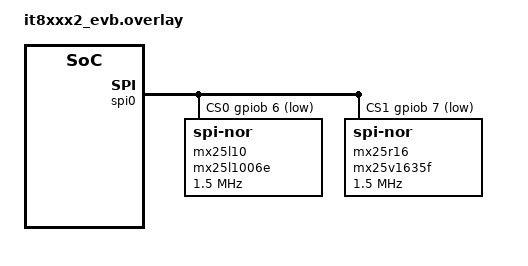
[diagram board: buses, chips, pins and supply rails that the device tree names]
/*
 * Copyright (c) 2024 ITE Corporation. All Rights Reserved.
 *
 * SPDX-License-Identifier: Apache-2.0
 */

/ {
	aliases {
		spi-flash0 = &mx25r16;
	};
};

 &spi0 {
	status = "okay";
	cs-gpios = <&gpiob 6 GPIO_ACTIVE_LOW>,
		    <&gpiob 7 GPIO_ACTIVE_LOW>;
	pinctrl-0 = <&spi_ssce0_default
		     &spi_ssce1_default
		     &spi_ssck_default
		     &spi_smosi_default
		     &spi_smiso_default>;
	pinctrl-names = "default";

	mx25l10: mx25l1006e@0 {
		compatible = "jedec,spi-nor";
		reg = <0>;
		spi-max-frequency = <1500000>;
		jedec-id = [c2 20 11];
		size = <0x100000>; // 1Mb
	};

	mx25r16: mx25v1635f@1 {
		compatible = "jedec,spi-nor";
		reg = <1>;
		spi-max-frequency = <1500000>;
		jedec-id = [c2 23 15];
		size = <0x1000000>; // 16Mb
	};
};
